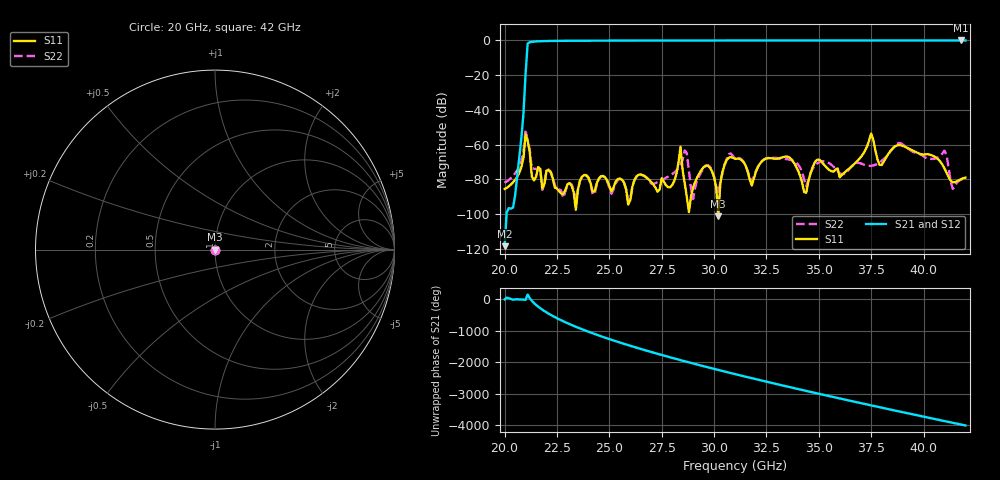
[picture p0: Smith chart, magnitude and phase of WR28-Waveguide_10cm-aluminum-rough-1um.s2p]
! Touchstone file exported from HFSS 2019.2.0
!  File:  C:/Users/jgarrett/Documents/Ansoft/Waveguide/WR28-Waveguide.aedt
!  Generated:  11:55:02 AM  Mar 17, 2021
!  Design:  10cm-aluminum-rough-1um
!  Project:  WR28-Waveguide
!  Setup:  Setup1
!  Solution:  Sweep
! Variables:
!  waveguideA = 280mil
!  waveguideB = 140mil
!  waveguideL = 10cm
!Data is not renormalized
# GHZ S MA
! Modal data exported
! Port[1] = 1:1
! Port[2] = 2:1
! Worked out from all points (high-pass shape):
!   221 points, 20 GHz to 42 GHz, reference per port
!   highest |S21| = -0.21 dB at 41.8 GHz (marker M1); lowest = -118.3 dB at 20 GHz (marker M2)
!   |S21| within 3 dB of the highest: 21.09 GHz to end of sweep
!   lowest |S11| = -101.1 dB at 30.2 GHz (marker M3), VSWR 1.00
!   |S11| at or under -10 dB: start of sweep to end of sweep
!   |S22| runs from -92.6 to -51.5 dB; largest |S21 - S12| = 4.2e-14
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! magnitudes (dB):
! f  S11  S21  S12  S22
! 20 GHz  -85.6  -118.3  -118.3  -82.0
! 20.6 GHz  -78.5  -78.1  -78.1  -74.8
! 21.1 GHz  -57.8  -2.0  -2.0  -58.3
! 21.4 GHz  -80.6  -0.9  -0.9  -73.8
! 23.7 GHz  -78.4  -0.3  -0.3  -78.4
! 27.4 GHz  -85.8  -0.2  -0.2  -80.9
! 28.1 GHz  -80.9  -0.2  -0.2  -76.0
! 28.4 GHz  -61.2  -0.2  -0.2  -71.6
! 28.6 GHz  -82.3  -0.2  -0.2  -63.3
! 28.9 GHz  -89.7  -0.2  -0.2  -85.1
! 30.2 GHz  -101.1  -0.2  -0.2  -88.1
! 31 GHz  -68.2  -0.2  -0.2  -68.2
! 31.7 GHz  -79.9  -0.2  -0.2  -79.0
! 34.7 GHz  -73.2  -0.2  -0.2  -74.0
! 36 GHz  -78.8  -0.2  -0.2  -76.4
! 37.5 GHz  -53.7  -0.2  -0.2  -72.2
! 37.9 GHz  -71.6  -0.2  -0.2  -70.3
! 38.4 GHz  -64.0  -0.2  -0.2  -64.3
! 41 GHz  -73.7  -0.2  -0.2  -63.5
! 41.3 GHz  -80.8  -0.2  -0.2  -81.3
! 41.8 GHz  -79.8  -0.2  -0.2  -80.0
! 42 GHz  -79.0  -0.2  -0.2  -79.3
